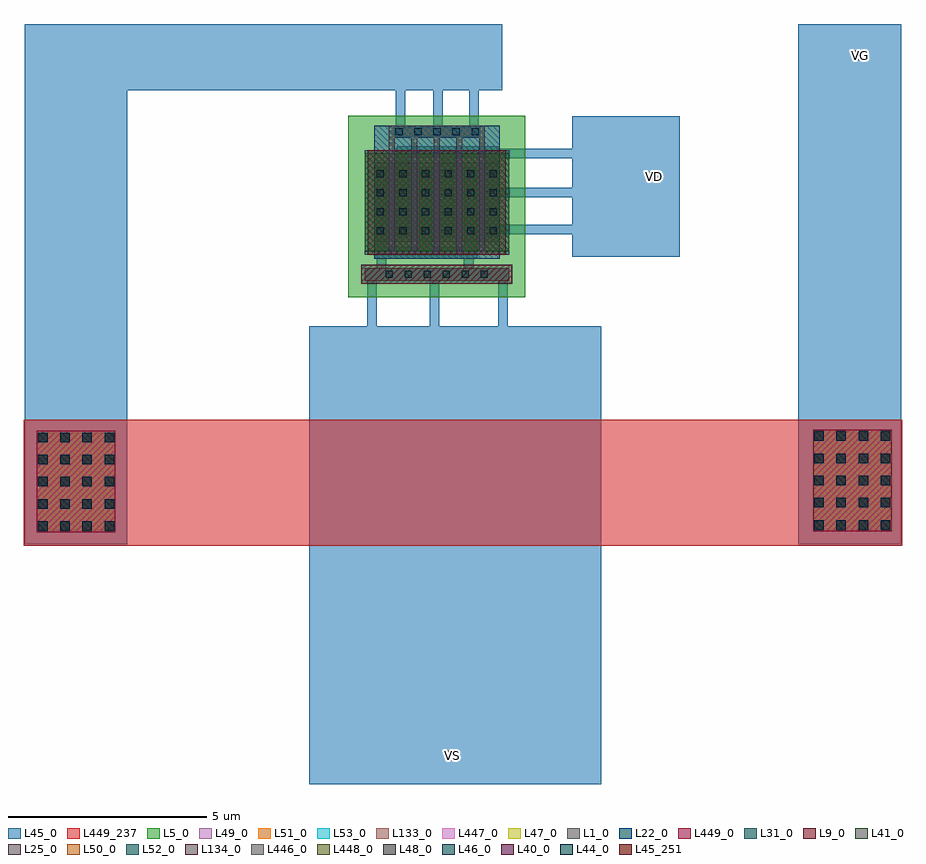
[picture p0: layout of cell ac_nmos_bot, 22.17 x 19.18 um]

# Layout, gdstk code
import gdstk
lib = gdstk.Library(unit=1e-6, precision=1e-09)
def R(c, l, rs):  # rectangles x0, y0, x1, y1
    for r in rs: c.add(gdstk.rectangle(r[:2], r[2:], *l))
def A(c, l, x, y, w, h, nx, ny, dx, dy):  # array of equal rectangles
    R(c, l, [(x+i*dx, y+j*dy, x+i*dx+w, y+j*dy+h) for i in range(nx) for j in range(ny)])
L1_0 = (1, 0)
L5_0 = (5, 0)
L9_0 = (9, 0)
L22_0 = (22, 0)
L25_0 = (25, 0)
L31_0 = (31, 0)
L40_0 = (40, 0)
L41_0 = (41, 0)
L44_0 = (44, 0)
L45_0 = (45, 0)
L45_251 = (45, 251)
L46_0 = (46, 0)
L47_0 = (47, 0)
L48_0 = (48, 0)
L49_0 = (49, 0)
L50_0 = (50, 0)
L51_0 = (51, 0)
L52_0 = (52, 0)
L53_0 = (53, 0)
L133_0 = (133, 0)
L134_0 = (134, 0)
L446_0 = (446, 0)
L447_0 = (447, 0)
L448_0 = (448, 0)
L449_0 = (449, 0)
L449_237 = (449, 237)

abutcontact__9 = lib.new_cell('AbutContact$$9')
R(abutcontact__9, L1_0, [(-0.23,-0.03,3.42,0.29)])
A(abutcontact__9, L44_0, 0.3, 0.04, 0.18, 0.18, 6, 1, 0.48, 0)
R(abutcontact__9, L45_0, [(-0.23,-0.03,3.42,0.29)])

nmos_hs_4__8 = lib.new_cell('nmos_hs_4$$8')
A(nmos_hs_4__8, L1_0, 0, 0, 0.15, 2, 5, 1, 0.57, 0)
A(nmos_hs_4__8, L1_0, 0.15, 0, 0.42, 2, 4, 1, 0.57, 0)
A(nmos_hs_4__8, L1_0, -0.37, 0.12, 0.32, 1.76, 6, 1, 0.57, 0)
R(nmos_hs_4__8, L1_0, [(-0.37,0,0,2), (2.43,0,2.8,2)])
R(nmos_hs_4__8, L5_0, [(-1.02,-1.39,3.45,3.18), (-0.77,-1.14,3.2,2.32)])
R(nmos_hs_4__8, L9_0, [(-0.53,-0.32,2.96,2.32)])
R(nmos_hs_4__8, L22_0, [(-0.37,-0.42,2.8,2.93)])
A(nmos_hs_4__8, L25_0, 0, -0.24, 0.15, 0.24, 5, 2, 0.57, 2.24)
A(nmos_hs_4__8, L25_0, 0, -0.24, 0.15, 2.48, 5, 1, 0.57, 0)
A(nmos_hs_4__8, L25_0, 0, 2.24, 0.15, 0.39, 5, 1, 0.57, 0)
R(nmos_hs_4__8, L25_0, [(0,2.63,2.43,2.93), (0.11,2.63,2.33,2.93)])
R(nmos_hs_4__8, L31_0, [(-0.61,-0.32,3.04,2.32)])
R(nmos_hs_4__8, L40_0, [(-0.69,-1.06,3.12,-0.58)])
R(nmos_hs_4__8, L41_0, [(-0.61,-0.24,3.04,2.24)])
A(nmos_hs_4__8, L44_0, -0.3, 0.19, 0.18, 0.18, 6, 4, 0.57, 0.48)
A(nmos_hs_4__8, L44_0, 0.17, 2.69, 0.18, 0.18, 5, 1, 0.48, 0)
A(nmos_hs_4__8, L45_0, -0.37, -0.12, 0.32, 0.24, 3, 1, 1.14, 0)
A(nmos_hs_4__8, L45_0, -0.37, 0.12, 0.32, 1.76, 6, 1, 0.57, 0)
A(nmos_hs_4__8, L45_0, 0.2, 1.88, 0.32, 0.24, 3, 1, 1.14, 0)
R(nmos_hs_4__8, L45_0, [(-0.61,-0.98,3.04,-0.66), (-0.37,-0.42,2.23,-0.12), (0.2,2.12,2.8,2.42), (0.13,2.66,2.31,2.9)])
nmos_hs_4__8.add(gdstk.Reference(abutcontact__9, (-0.38,-0.95)))

m3_m4__1 = lib.new_cell('M3_M4$$1')
R(m3_m4__1, L49_0, [(-0.99,-1.28,0.99,1.28)])
A(m3_m4__1, L50_0, -0.96, -1.24, 0.24, 0.24, 4, 5, 0.56, 0.56)
R(m3_m4__1, L51_0, [(-0.99,-1.28,0.99,1.28)])

m4_m5__2 = lib.new_cell('M4_M5$$2')
R(m4_m5__2, L51_0, [(-0.99,-1.28,0.99,1.28)])
A(m4_m5__2, L52_0, -0.96, -1.24, 0.24, 0.24, 4, 5, 0.56, 0.56)
R(m4_m5__2, L53_0, [(-0.99,-1.28,0.99,1.28)])

m5_m1_top__3 = lib.new_cell('M5_M1_top$$3')
R(m5_m1_top__3, L53_0, [(-0.99,-1.28,0.99,1.28)])
R(m5_m1_top__3, L133_0, [(-0.99,-1.28,0.99,1.28)])
A(m5_m1_top__3, L134_0, -0.96, -1.24, 0.24, 0.24, 4, 5, 0.56, 0.56)

m1_top_m2_top__4 = lib.new_cell('M1_top_M2_top$$4')
R(m1_top_m2_top__4, L133_0, [(-0.99,-1.28,0.99,1.28)])
A(m1_top_m2_top__4, L446_0, -0.96, -1.24, 0.24, 0.24, 4, 5, 0.56, 0.56)
R(m1_top_m2_top__4, L447_0, [(-0.99,-1.28,0.99,1.28)])

m2_top_m3_top__5 = lib.new_cell('M2_top_M3_top$$5')
R(m2_top_m3_top__5, L447_0, [(-0.99,-1.28,0.99,1.28)])
A(m2_top_m3_top__5, L448_0, -0.96, -1.24, 0.24, 0.24, 4, 5, 0.56, 0.56)
R(m2_top_m3_top__5, L449_0, [(-0.99,-1.28,0.99,1.28)])

m2_m3__6 = lib.new_cell('M2_M3$$6')
R(m2_m3__6, L47_0, [(-0.99,-1.28,0.99,1.28)])
A(m2_m3__6, L48_0, -0.96, -1.24, 0.24, 0.24, 4, 5, 0.56, 0.56)
R(m2_m3__6, L49_0, [(-0.99,-1.28,0.99,1.28)])

m1_m2__7 = lib.new_cell('M1_M2$$7')
R(m1_m2__7, L45_0, [(-0.99,-1.28,0.99,1.28)])
A(m1_m2__7, L46_0, -0.96, -1.24, 0.24, 0.24, 4, 5, 0.56, 0.56)
R(m1_m2__7, L47_0, [(-0.99,-1.28,0.99,1.28)])

ac_nmos_bot = lib.new_cell('ac_nmos_bot')
R(ac_nmos_bot, L45_0, [(-0.49,-10.88,6.88,0.67), (-7.67,-4.83,-5.08,8.3), (11.86,-4.83,14.45,8.3), (6.15,2.43,8.87,5.97), (-7.67,6.63,4.38,8.3)])
R(ac_nmos_bot, L45_251, [(3.02,-10.28,3.26,-10.04), (8.11,4.33,8.35,4.57), (13.3,7.39,13.54,7.63)])
R(ac_nmos_bot, L449_237, [(-7.69,-4.87,14.48,-1.69)])
ac_nmos_bot.add(gdstk.FlexPath([(3.54,2.6),(3.54,1.86)], 0.24, ends="flush", simple_path=True, layer=45, datatype=0))  # L45_0
ac_nmos_bot.add(gdstk.FlexPath([(2.68,2.11),(2.68,0.42)], 0.24, ends="flush", simple_path=True, layer=45, datatype=0))  # L45_0
ac_nmos_bot.add(gdstk.FlexPath([(4.41,2.12),(4.41,0.43)], 0.24, ends="flush", simple_path=True, layer=45, datatype=0))  # L45_0
ac_nmos_bot.add(gdstk.FlexPath([(1.1,2.1),(1.1,0.41)], 0.24, ends="flush", simple_path=True, layer=45, datatype=0))  # L45_0
ac_nmos_bot.add(gdstk.FlexPath([(1.34,2.63),(1.34,1.88)], 0.24, ends="flush", simple_path=True, layer=45, datatype=0))  # L45_0
ac_nmos_bot.add(gdstk.FlexPath([(6.33,4.05),(4.04,4.05)], 0.24, ends="flush", simple_path=True, layer=45, datatype=0))  # L45_0
ac_nmos_bot.add(gdstk.FlexPath([(6.33,3.12),(4.04,3.12)], 0.24, ends="flush", simple_path=True, layer=45, datatype=0))  # L45_0
ac_nmos_bot.add(gdstk.FlexPath([(6.34,5.03),(4.05,5.03)], 0.24, ends="flush", simple_path=True, layer=45, datatype=0))  # L45_0
ac_nmos_bot.add(gdstk.FlexPath([(2.76,5.53),(2.76,6.83)], 0.24, ends="flush", simple_path=True, layer=45, datatype=0))  # L45_0
ac_nmos_bot.add(gdstk.FlexPath([(3.67,5.53),(3.67,6.83)], 0.24, ends="flush", simple_path=True, layer=45, datatype=0))  # L45_0
ac_nmos_bot.add(gdstk.FlexPath([(1.82,5.53),(1.82,6.83)], 0.24, ends="flush", simple_path=True, layer=45, datatype=0))  # L45_0
ac_nmos_bot.add(gdstk.Reference(nmos_hs_4__8, (1.52,2.8)))
ac_nmos_bot.add(gdstk.Reference(m3_m4__1, (13.22,-3.22)))
ac_nmos_bot.add(gdstk.Reference(m3_m4__1, (-6.37,-3.25)))
ac_nmos_bot.add(gdstk.Reference(m4_m5__2, (13.22,-3.22)))
ac_nmos_bot.add(gdstk.Reference(m4_m5__2, (-6.37,-3.25)))
ac_nmos_bot.add(gdstk.Reference(m5_m1_top__3, (13.22,-3.22)))
ac_nmos_bot.add(gdstk.Reference(m5_m1_top__3, (-6.37,-3.25)))
ac_nmos_bot.add(gdstk.Reference(m1_top_m2_top__4, (13.22,-3.22)))
ac_nmos_bot.add(gdstk.Reference(m1_top_m2_top__4, (-6.37,-3.25)))
ac_nmos_bot.add(gdstk.Reference(m2_top_m3_top__5, (13.22,-3.22)))
ac_nmos_bot.add(gdstk.Reference(m2_top_m3_top__5, (-6.37,-3.25)))
ac_nmos_bot.add(gdstk.Reference(m2_m3__6, (13.22,-3.22)))
ac_nmos_bot.add(gdstk.Reference(m2_m3__6, (-6.37,-3.25)))
ac_nmos_bot.add(gdstk.Reference(m1_m2__7, (13.22,-3.22)))
ac_nmos_bot.add(gdstk.Reference(m1_m2__7, (-6.37,-3.25)))
ac_nmos_bot.add(gdstk.Label('VG', (13.42,7.51), layer=45, texttype=251))
ac_nmos_bot.add(gdstk.Label('VS', (3.14,-10.16), layer=45, texttype=251))
ac_nmos_bot.add(gdstk.Label('VD', (8.23,4.45), layer=45, texttype=251))

lib.write_gds('ac_nmos_bot.gds')
